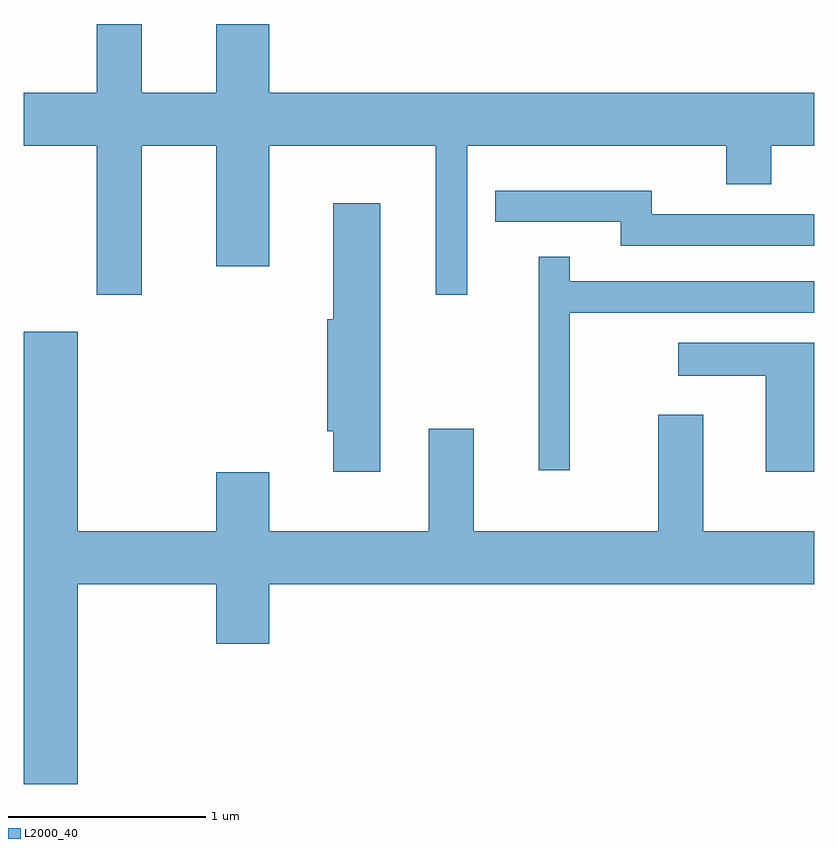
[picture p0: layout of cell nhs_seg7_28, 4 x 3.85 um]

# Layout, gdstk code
import gdstk
lib = gdstk.Library(unit=1e-6, precision=1e-09)
def P(c, l, *ps):  # polygons
    for p in ps: c.add(gdstk.Polygon(p, *l))
L2000_40 = (2000, 40)

nhs_seg7_28 = lib.new_cell('nhs_seg7_28')
P(nhs_seg7_28, L2000_40, [(186.209,1727.636),(186.586,1727.636),(186.586,1727.026),(186.854,1727.026),(186.854,1727.636),(187.696,1727.636),(187.696,1726.883),(187.854,1726.883),(187.854,1727.636),(189.166,1727.636),(189.166,1727.441),(189.394,1727.441),(189.394,1727.636),(189.611,1727.636),(189.611,1727.904),(186.854,1727.904),(186.854,1728.252),(186.586,1728.252),(186.586,1727.904),(186.209,1727.904),(186.209,1728.252),(185.981,1728.252),(185.981,1727.904),(185.611,1727.904),(185.611,1727.636),(185.981,1727.636),(185.981,1726.881),(186.209,1726.881)],
  [(189.611,1727.289),(188.789,1727.289),(188.789,1727.409),(187.998,1727.409),(187.998,1727.251),(188.631,1727.251),(188.631,1727.131),(189.611,1727.131)],
  [(187.414,1727.344),(187.176,1727.344),(187.176,1726.759),(187.146,1726.759),(187.146,1726.191),(187.176,1726.191),(187.176,1725.986),(187.414,1725.986)],
  [(188.374,1726.791),(189.611,1726.791),(189.611,1726.949),(188.374,1726.949),(188.374,1727.073),(188.216,1727.073),(188.216,1725.993),(188.374,1725.993)],
  [(185.884,1725.416),(186.586,1725.416),(186.586,1725.116),(186.854,1725.116),(186.854,1725.416),(189.611,1725.416),(189.611,1725.684),(189.049,1725.684),(189.049,1726.274),(188.821,1726.274),(188.821,1725.684),(187.889,1725.684),(187.889,1726.204),(187.661,1726.204),(187.661,1725.684),(186.854,1725.684),(186.854,1725.984),(186.586,1725.984),(186.586,1725.684),(185.884,1725.684),(185.884,1726.694),(185.611,1726.694),(185.611,1724.406),(185.884,1724.406)],
  [(189.611,1726.639),(188.923,1726.639),(188.923,1726.471),(189.366,1726.471),(189.366,1725.986),(189.611,1725.986)])

lib.write_gds('nhs_seg7_28.gds')
